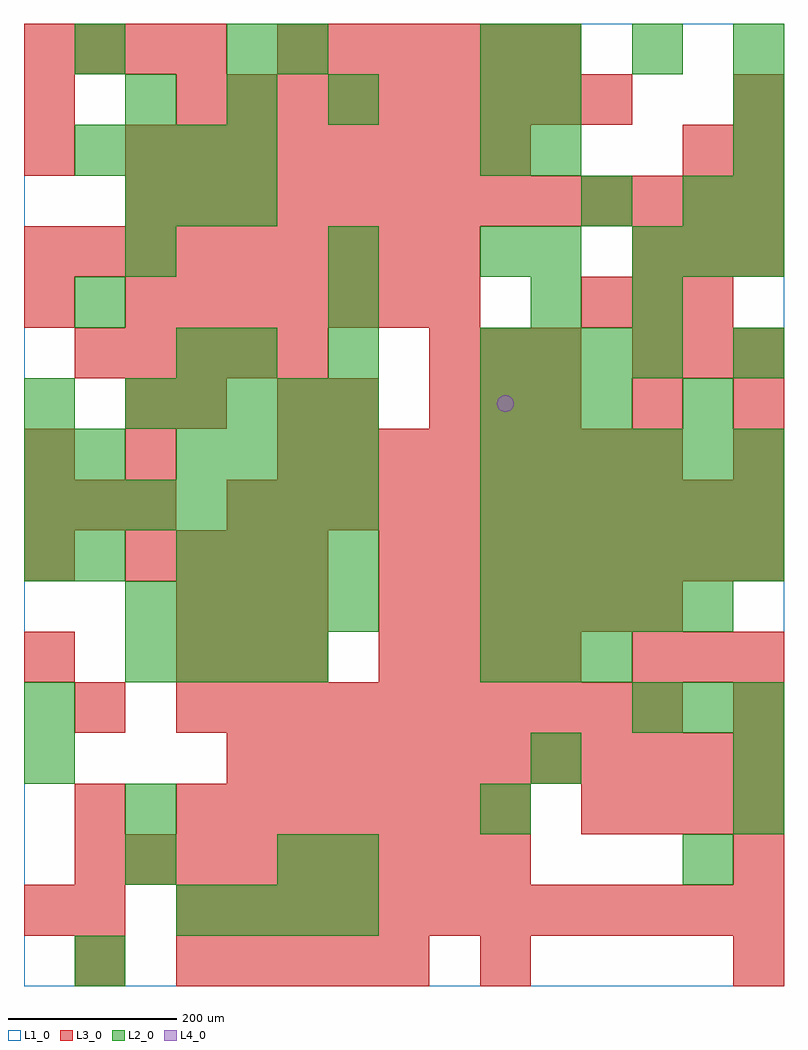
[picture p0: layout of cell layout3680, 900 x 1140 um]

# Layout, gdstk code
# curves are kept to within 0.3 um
import gdstk
lib = gdstk.Library(unit=1e-6, precision=1e-09)
def R(c, l, rs):  # rectangles x0, y0, x1, y1
    for r in rs: c.add(gdstk.rectangle(r[:2], r[2:], *l))
def A(c, l, x, y, w, h, nx, ny, dx, dy):  # array of equal rectangles
    R(c, l, [(x+i*dx, y+j*dy, x+i*dx+w, y+j*dy+h) for i in range(nx) for j in range(ny)])
def P(c, l, *ps):  # polygons
    for p in ps: c.add(gdstk.Polygon(p, *l))
L1_0 = (1, 0)
L2_0 = (2, 0)
L3_0 = (3, 0)
L4_0 = (4, 0)

layout3680 = lib.new_cell('layout3680')
R(layout3680, L1_0, [(0,0,900,1140)])
A(layout3680, L2_0, 180, 60, 60, 60, 4, 2, 60, 420)
A(layout3680, L2_0, 720, 300, 60, 60, 3, 2, 60, 540)
A(layout3680, L2_0, 120, 360, 60, 60, 4, 1, 60, 0)
A(layout3680, L2_0, 540, 360, 60, 60, 3, 2, 60, 300)
A(layout3680, L2_0, 120, 420, 60, 60, 5, 2, 60, 240)
A(layout3680, L2_0, 540, 420, 60, 60, 5, 1, 60, 0)
A(layout3680, L2_0, 540, 480, 60, 60, 6, 3, 60, 60)
A(layout3680, L2_0, 0, 540, 60, 60, 7, 1, 60, 0)
A(layout3680, L2_0, 180, 600, 60, 60, 4, 1, 60, 0)
A(layout3680, L2_0, 360, 720, 60, 60, 1, 3, 0, 60)
A(layout3680, L2_0, 540, 720, 60, 60, 4, 1, 60, 0)
A(layout3680, L2_0, 120, 900, 60, 60, 3, 1, 60, 0)
A(layout3680, L2_0, 840, 900, 60, 60, 1, 3, 0, 60)
A(layout3680, L2_0, 60, 960, 60, 60, 4, 1, 60, 0)
A(layout3680, L2_0, 540, 960, 60, 60, 1, 3, 0, 60)
A(layout3680, L2_0, 120, 1020, 60, 60, 3, 1, 120, 0)
A(layout3680, L2_0, 600, 1080, 60, 60, 3, 1, 120, 0)
R(layout3680, L2_0, [(60,0,120,60), (120,120,180,180), (300,120,360,180), (360,120,420,180), (780,120,840,180), (120,180,180,240), (540,180,600,240), (840,180,900,240), (0,240,60,300), (600,240,660,300), (840,240,900,300), (0,300,60,360), (0,480,60,540), (60,480,120,540), (0,600,60,660), (60,600,120,660), (0,660,60,720), (780,660,840,720), (180,720,240,780), (240,720,300,780), (840,720,900,780), (60,780,120,840), (600,780,660,840), (720,780,780,840), (120,840,180,900), (540,840,600,900), (600,840,660,900), (660,900,720,960), (780,900,840,960), (600,960,660,1020), (600,1020,660,1080), (60,1080,120,1140), (240,1080,300,1140), (300,1080,360,1140)])
A(layout3680, L3_0, 180, 0, 60, 60, 5, 1, 60, 0)
A(layout3680, L3_0, 60, 60, 60, 60, 1, 3, 0, 120)
A(layout3680, L3_0, 180, 60, 60, 60, 12, 1, 60, 0)
A(layout3680, L3_0, 60, 120, 60, 60, 9, 1, 60, 0)
A(layout3680, L3_0, 180, 180, 60, 60, 7, 1, 60, 0)
A(layout3680, L3_0, 660, 180, 60, 60, 4, 1, 60, 0)
A(layout3680, L3_0, 240, 240, 60, 60, 11, 2, 60, 300)
A(layout3680, L3_0, 180, 300, 60, 60, 10, 1, 60, 0)
A(layout3680, L3_0, 0, 360, 60, 60, 1, 3, 0, 120)
A(layout3680, L3_0, 180, 360, 60, 60, 3, 2, 60, 60)
A(layout3680, L3_0, 420, 360, 60, 60, 4, 1, 60, 0)
A(layout3680, L3_0, 720, 360, 60, 60, 3, 2, 60, 360)
A(layout3680, L3_0, 420, 420, 60, 60, 6, 1, 60, 0)
A(layout3680, L3_0, 120, 480, 60, 60, 4, 1, 60, 0)
A(layout3680, L3_0, 420, 480, 60, 60, 8, 1, 60, 0)
A(layout3680, L3_0, 0, 540, 60, 60, 3, 1, 60, 0)
A(layout3680, L3_0, 300, 600, 60, 60, 8, 1, 60, 0)
A(layout3680, L3_0, 480, 660, 60, 60, 3, 2, 60, 60)
A(layout3680, L3_0, 60, 720, 60, 60, 5, 1, 60, 0)
A(layout3680, L3_0, 120, 780, 60, 60, 7, 1, 60, 0)
A(layout3680, L3_0, 660, 780, 60, 60, 3, 1, 60, 0)
A(layout3680, L3_0, 0, 840, 60, 60, 9, 1, 60, 0)
A(layout3680, L3_0, 720, 840, 60, 60, 3, 1, 60, 0)
A(layout3680, L3_0, 120, 900, 60, 60, 13, 1, 60, 0)
A(layout3680, L3_0, 120, 960, 60, 60, 8, 1, 60, 0)
A(layout3680, L3_0, 180, 1020, 60, 60, 9, 1, 60, 0)
A(layout3680, L3_0, 0, 1080, 60, 60, 4, 1, 60, 0)
A(layout3680, L3_0, 300, 1080, 60, 60, 6, 1, 60, 0)
R(layout3680, L3_0, [(60,0,120,60), (540,0,600,60), (840,0,900,60), (0,60,60,120), (840,120,900,180), (840,300,900,360), (120,600,180,660), (840,600,900,660), (120,660,180,720), (180,660,240,720), (300,660,360,720), (360,660,420,720), (720,660,780,720), (840,660,900,720), (0,780,60,840), (0,960,60,1020), (780,960,840,1020), (840,960,900,1020), (0,1020,60,1080), (840,1020,900,1080)])
P(layout3680, L4_0, [(580,690),(579.239,693.827),(577.071,697.071),(573.827,699.239),(570,700),(566.173,699.239),(562.929,697.071),(560.761,693.827),(560,690),(560.761,686.173),(562.929,682.929),(566.173,680.761),(570,680),(573.827,680.761),(577.071,682.929),(579.239,686.173)])

lib.write_gds('layout3680.gds')
